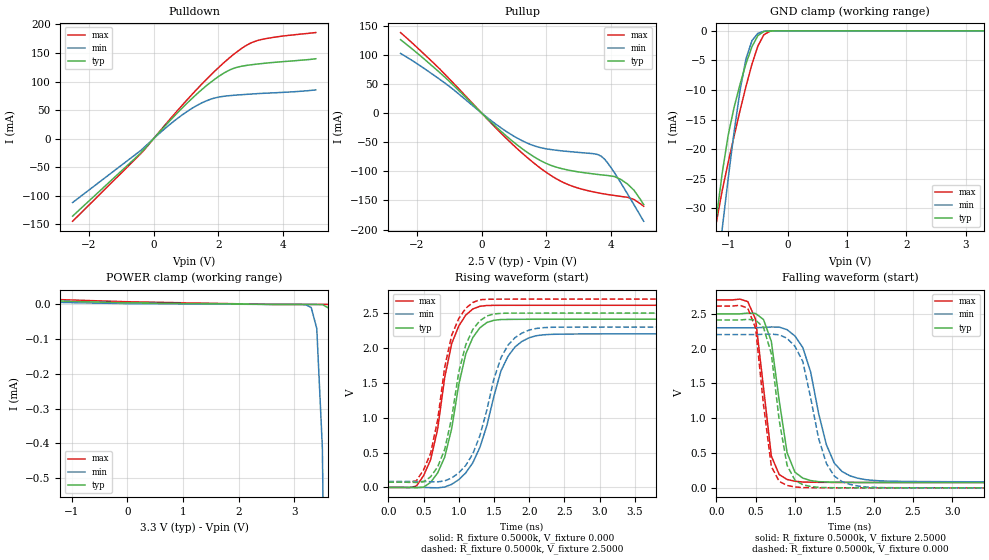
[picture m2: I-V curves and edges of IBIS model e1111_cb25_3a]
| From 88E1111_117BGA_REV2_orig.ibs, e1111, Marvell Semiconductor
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|   Model e1111_cb25_3a
[Model]   e1111_cb25_3a
Model_type   I/O
Polarity   Non-Inverting
Enable   Active-High
Vinl =   1.1900V
Vinh =   1.3500V
Vmeas =   1.3000V
Cref =  15.0000pF
Vref =  0.000V
C_comp   0.9900pF   0.8400pF   1.1400pF
[Temperature Range]   25.0000   0.1250k   0.000
[Pullup Reference]   2.5000V   2.3000V   2.7000V
[Pulldown Reference]   0.000V   0.000V   0.000V
[POWER Clamp Reference]   3.3000V   3.0000V   3.6000V
[GND Clamp Reference]   0.000V   0.000V   0.000V
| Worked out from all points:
|   slope of the pulldown table from 0 to 0.375 V, typ, clamps not added: 15.9 ohm
|   slope of the pullup table from 0 to 0.375 V, typ, clamps not added: 18.7 ohm
|   GND clamp passes 1 mA (typ) near -0.51 V on its own axis
|   rising waveform, R_fixture 0.5000k, V_fixture 0.000: 20-80 % time 295ps typ, 404ps min, 282ps max; typ from 0 V to 2.41 V
|   rising waveform, R_fixture 0.5000k, V_fixture 2.5000: 20-80 % time 288ps typ, 381ps min, 275ps max; typ from 0.076 V to 2.5 V
|   falling waveform, R_fixture 0.5000k, V_fixture 2.5000: 20-80 % time 182ps typ, 289ps min, 160ps max; typ from 2.5 V to 0.076 V
|   falling waveform, R_fixture 0.5000k, V_fixture 0.000: 20-80 % time 176ps typ, 265ps min, 157ps max; typ from 2.41 V to 0 V
[Pulldown]
| voltage   I(typ)   I(min)   I(max)
-2.5V     -135.7mA   -111.9mA   -144.8mA
-400mV    -25.38mA   -20.84mA   -26.61mA
300mV     18.97mA    15.25mA    20.39mA
900mV     54.71mA    42.29mA    59.64mA
1.5V      86.55mA    62.94mA    96.36mA
1.8V      100.4mA    69.77mA    113.5mA
2.1V      112.4mA    73.61mA    129.6mA
2.5V      123.7mA    76.04mA    148.9mA
2.8V      127.6mA    77.25mA    161.2mA
3.1V      129.9mA    78.4mA     169.8mA
3.8V      133.9mA    80.46mA    178.2mA
5V        139.8mA    85.26mA    185.7mA
[Pullup]
| voltage   I(typ)   I(min)   I(max)
-2.5V     125.9mA    102.3mA    138.1mA
-1.1V     59.93mA    50.14mA    64.7mA
600mV     -31.45mA   -25.46mA   -34.57mA
1.5V      -70.97mA   -53.8mA    -80.74mA
2V        -86.65mA   -61.51mA   -102.1mA
2.5V      -95.84mA   -65.12mA   -118.6mA
3.5V      -104.9mA   -70.23mA   -136mA
3.7V      -106.2mA   -74.54mA   -138.1mA
4.1V      -109.1mA   -102.6mA   -141.6mA
4.5V      -121.8mA   -138.7mA   -144.7mA
4.7V      -132.5mA   -157.4mA   -148.4mA
5V        -157.1mA   -185.9mA   -160.1mA
[GND_clamp]
| voltage   I(typ)   I(min)   I(max)
-2.5V     -152.8mA   -164.7mA   -149.9mA
-1.3V     -40.24mA   -51.22mA   -39.4mA
-1.2V     -31.77mA   -42.22mA   -32.44mA
-1.1V     -24.02mA   -33.44mA   -26.96mA
-900mV    -12.91mA   -17.05mA   -17.77mA
-800mV    -9.014mA   -10.05mA   -13.46mA
-700mV    -5.553mA   -4.707mA   -9.366mA
-600mV    -2.678mA   -1.659mA   -5.64mA
-500mV    -799.5uA   -411.2uA   -2.568mA
-400mV    -116.7uA   -69.33uA   -665.7uA
-200mV    -472nA     -926.6nA   -4.38uA
3.3V      4.685uA    3.126uA    6.158uA
[POWER_clamp]
| voltage   I(typ)   I(min)   I(max)
-2.5V     16.11uA    11.01uA    21.07uA
0V        4.686uA    2.346uA    7.702uA
3.1V      104.6pA    -91.77nA   5.831nA
3.2V      -13.76pA   -926.6nA   5.041nA
3.3V      -696.9pA   -8.908uA   4.291nA
3.4V      -18.73nA   -69.33uA   3.569nA
3.5V      -472nA     -411.2uA   2.81nA
3.6V      -9.258uA   -1.659mA   -1.554nA
[Ramp]
| variable   typ   min   max
dV/dt_r   1.4470/0.2947n   1.3215/0.4038n   1.5672/0.2816n
dV/dt_f   1.4546/0.1826n   1.3289/0.2893n   1.5741/0.1602n
R_load = 0.5000k
[Rising Waveform]
R_fixture = 0.5000k
V_fixture = 0.000
V_fixture_min = 0.000
V_fixture_max = 0.000
| time   V(typ)   V(min)   V(max)
0s        0V         0V         0V
400ps     -5.078mV   -2.509uV   20.66mV
600ps     72.3mV     -3.639mV   395.4mV
700ps     207.2mV    -6.298mV   835.8mV
900ps     845mV      44.3mV     2.064V
1.1ns     1.914V     209mV      2.472V
1.3ns     2.289V     573.5mV    2.597V
1.7ns     2.409V     1.881V     2.612V
2.1ns     2.411V     2.175V     2.612V
9.9ns     2.412V     2.202V     2.612V
[Rising Waveform]
R_fixture = 0.5000k
V_fixture = 2.5000
V_fixture_min = 2.3000
V_fixture_max = 2.7000
| time   V(typ)   V(min)   V(max)
0s        75.72mV    85.17mV    76.57mV
400ps     70.76mV    85.17mV    98.31mV
600ps     151.7mV    81.69mV    489mV
700ps     293.9mV    80.17mV    965.4mV
900ps     1V         135.4mV    2.183V
1.1ns     2.047V     316.2mV    2.569V
1.3ns     2.39V      740.9mV    2.691V
1.6ns     2.496V     1.86V      2.7V
2.1ns     2.5V       2.279V     2.7V
9.9ns     2.5V       2.3V       2.7V
[Falling Waveform]
R_fixture = 0.5000k
V_fixture = 2.5000
V_fixture_min = 2.3000
V_fixture_max = 2.7000
| time   V(typ)   V(min)   V(max)
0s        2.5V       2.3V       2.7V
400ps     2.511V     2.3V       2.677V
500ps     2.506V     2.3V       2.42V
600ps     2.42V      2.305V     1.442V
700ps     2.104V     2.312V     456.4mV
900ps     504.9mV    2.273V     120.3mV
1.1ns     140mV      2.016V     83.47mV
1.5ns     81.15mV    354.8mV    78.02mV
1.8ns     78.3mV     138mV      77.37mV
9.9ns     75.7mV     85.16mV    76.58mV
[Falling Waveform]
R_fixture = 0.5000k
V_fixture = 0.000
V_fixture_min = 0.000
V_fixture_max = 0.000
| time   V(typ)   V(min)   V(max)
0s        2.412V     2.203V     2.612V
400ps     2.422V     2.203V     2.582V
500ps     2.41V      2.202V     2.294V
600ps     2.308V     2.207V     1.196V
700ps     1.927V     2.209V     307.6mV
900ps     322.9mV    2.149V     34.23mV
1.1ns     44.95mV    1.815V     3.759mV
1.4ns     3.906mV    349.7mV    776.2uV
1.7ns     933.7uV    48.81mV    521.8uV
9.9ns     -3.697uV   -6.114uV   11.47uV
